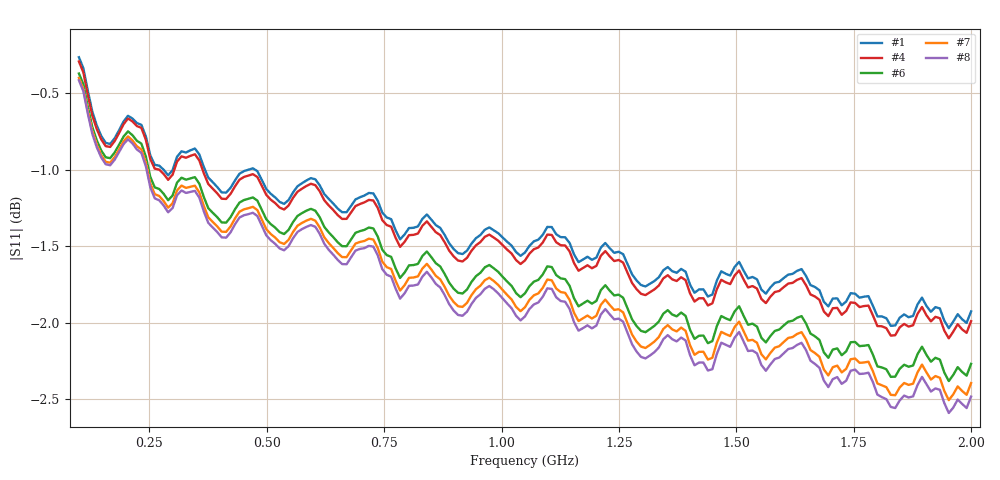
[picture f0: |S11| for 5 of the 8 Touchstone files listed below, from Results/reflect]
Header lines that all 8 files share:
!Keysight Technologies,N5242B,MY48420967,A.15.65.19
!Correction: S11(C  2-Port  )
!S21(C  2-Port  )
!S12(C  2-Port  )
!S22(C  2-Port  )
!S2P File: Measurements: S11, S21, S12, S22:
# Hz S  dB  R 50
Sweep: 100 MHz to 2 GHz
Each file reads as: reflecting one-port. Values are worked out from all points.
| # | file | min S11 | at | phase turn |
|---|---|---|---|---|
| 1 | S-ParamMeas20k_reflect.s2p | -2.0 dB | 1.952 GHz | -5413 deg |
| 2 | S-ParamMeas25k_reflect.s2p | -2.0 dB | 1.952 GHz | -5413 deg |
| 3 | S-ParamMeas30k_reflect.s2p | -2.0 dB | 1.952 GHz | -5413 deg |
| 4 | S-ParamMeas77k_reflect.s2p | -2.1 dB | 1.952 GHz | -5413 deg |
| 5 | S-ParamMeas100k_reflect.s2p | -2.1 dB | 1.952 GHz | -5413 deg |
| 6 | S-ParamMeas200k_reflect.s2p | -2.4 dB | 1.952 GHz | -5409 deg |
| 7 | S-ParamMeas250k_reflect.s2p | -2.5 dB | 1.952 GHz | -5407 deg |
| 8 | S-ParamMeas290k_reflect.s2p | -2.6 dB | 1.952 GHz | -5404 deg |
